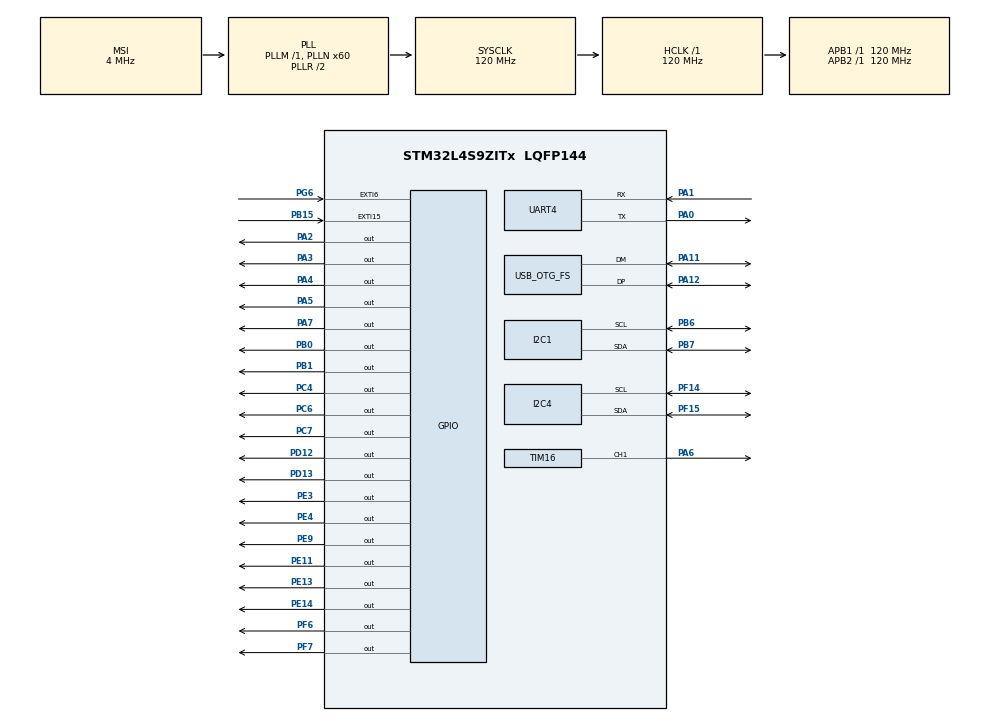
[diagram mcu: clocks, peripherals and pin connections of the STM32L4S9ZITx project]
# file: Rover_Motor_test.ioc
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I2C1.Timing=0x307075B1
I2C4.Timing=0x307075B1
Mcu.Family=STM32L4
Mcu.Name=STM32L4S9ZITx
Mcu.Package=LQFP144
NVIC.PriorityGroup=NVIC_PRIORITYGROUP_4
PA0.Mode=Asynchronous
PA0.Signal=UART4_TX
PA1.Mode=Asynchronous
PA1.Signal=UART4_RX
PA11.Mode=Device_Only
PA11.Signal=USB_OTG_FS_DM
PA12.Mode=Device_Only
PA12.Signal=USB_OTG_FS_DP
PA13\ (JTMS/SWDIO).Signal=SYS_JTMS-SWDIO
PA14\ (JTCK/SWCLK).Signal=SYS_JTCK-SWCLK
PA2.Signal=GPIO_Output
PA3.Signal=GPIO_Output
PA4.Signal=GPIO_Output
PA5.Signal=GPIO_Output
PA6.Signal=S_TIM16_CH1
PA7.Signal=GPIO_Output
PB0.Signal=GPIO_Output
PB1.Signal=GPIO_Output
PB15.Signal=GPXTI15
PB6.Mode=I2C
PB6.Signal=I2C1_SCL
PB7.Mode=I2C
PB7.Signal=I2C1_SDA
PC14-OSC32_IN\ (PC14).Mode=LSE-External-Oscillator
PC14-OSC32_IN\ (PC14).Signal=RCC_OSC32_IN
PC15-OSC32_OUT\ (PC15).Mode=LSE-External-Oscillator
PC15-OSC32_OUT\ (PC15).Signal=RCC_OSC32_OUT
PC4.Signal=GPIO_Output
PC6.Signal=GPIO_Output
PC7.Signal=GPIO_Output
PD12.Signal=GPIO_Output
PD13.Signal=GPIO_Output
PE11.Signal=GPIO_Output
PE13.Signal=GPIO_Output
PE14.Signal=GPIO_Output
PE3.Signal=GPIO_Output
PE4.Signal=GPIO_Output
PE9.Signal=GPIO_Output
PF14.Mode=I2C
PF14.Signal=I2C4_SCL
PF15.Mode=I2C
PF15.Signal=I2C4_SDA
PF6.Signal=GPIO_Output
PF7.Signal=GPIO_Output
PG6.Signal=GPXTI6
ProjectManager.HeapSize=0x200
ProjectManager.StackSize=0x400
ProjectManager.TargetToolchain=STM32CubeIDE
RCC.ADCFreq_Value=48000000
RCC.AHBFreq_Value=120000000
RCC.APB1Freq_Value=120000000
RCC.APB1TimFreq_Value=120000000
RCC.APB2Freq_Value=120000000
RCC.APB2TimFreq_Value=120000000
RCC.CortexFreq_Value=120000000
RCC.HCLKFreq_Value=120000000
RCC.HSE_VALUE=8000000
RCC.HSI48_VALUE=48000000
RCC.HSI_VALUE=16000000
RCC.MSI_VALUE=4000000
RCC.PLLN=60
RCC.PLLSAI1N=24
RCC.SYSCLKFreq_VALUE=120000000
RCC.SYSCLKSource=RCC_SYSCLKSOURCE_PLLCLK
RCC.USBFreq_Value=48000000
RCC.VCOOutputFreq_Value=240000000
SH.S_TIM16_CH1.0=TIM16_CH1,PWM Generation1 CH1
TIM16.Channel=TIM_CHANNEL_1
USB_OTG_FS.VirtualMode=Device_Only
VP_RTC_VS_RTC_Activate.Mode=RTC_Enabled
VP_TIM16_VS_ClockSourceINT.Mode=Enable_Timer
board=custom

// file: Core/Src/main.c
/* USER CODE BEGIN Header */
/**
  ******************************************************************************
  * @file           : main.c
  * @brief          : Main program body
  ******************************************************************************
  * @attention
  *
  * Copyright (c) 2022 STMicroelectronics.
  * All rights reserved.
  *
  * This software is licensed under terms that can be found in the LICENSE file
  * in the root directory of this software component.
  * If no LICENSE file comes with this software, it is provided AS-IS.
  *
  ******************************************************************************
  */
/* USER CODE END Header */

#include <stdbool.h>
#include <stdio.h>
#include <inttypes.h>

#include "main.h"
#include "bretts_helper.h"

I2C_HandleTypeDef hi2c1;
I2C_HandleTypeDef hi2c4;
RTC_HandleTypeDef hrtc;
TIM_HandleTypeDef htim16;
UART_HandleTypeDef huart4;
PCD_HandleTypeDef hpcd_USB_OTG_FS;

/* USER CODE BEGIN PV */
int brett_status = 0;
VL53L0X_Dev_t dev[AMOUNT_IRS];
VL53L0X_DEV Devs = &dev[0];
int distances[AMOUNT_IRS];
float initalHitDis;
bool initalDetachHit;
uint timer_IR;
uint timer_GPS;
RTC_TimeTypeDef sTime;
RTC_DateTypeDef sDate;
Brett_Timer timeStruct;
int magDir;
/* USER CODE END PV */

void SystemClock_Config(void);
static void MX_GPIO_Init(void);
static void MX_I2C1_Init(void);
static void MX_I2C4_Init(void);
static void MX_TIM16_Init(void);
static void MX_UART4_Init(void);
static void MX_RTC_Init(void);
static void MX_USB_OTG_FS_PCD_Init(void);

/* USER CODE BEGIN PFP */
#define PUTCHAR_PROTOTYPE int __io_putchar(int ch)

PUTCHAR_PROTOTYPE
{
	HAL_UART_Transmit(&huart4, (uint8_t*)&ch, 1, 0xFFFF);
	return ch;
}

int main(void)
{
	HAL_Init();

	SystemClock_Config();

	MX_GPIO_Init();
	MX_I2C1_Init();
	MX_I2C4_Init();
	MX_TIM16_Init();
	MX_UART4_Init();
	MX_RTC_Init();
	MX_USB_OTG_FS_PCD_Init();

	// start loop 3
	SetMotors(MOVE_START);
}

void SystemClock_Config(void)
{
  RCC_OscInitTypeDef RCC_OscInitStruct = {0};
  RCC_ClkInitTypeDef RCC_ClkInitStruct = {0};

  /** Configure the main internal regulator output voltage
  */
  if (HAL_PWREx_ControlVoltageScaling(PWR_REGULATOR_VOLTAGE_SCALE1_BOOST) != HAL_OK)
  {
    Error_Handler();
  }
  /** Configure LSE Drive Capability
  */
  HAL_PWR_EnableBkUpAccess();
  __HAL_RCC_LSEDRIVE_CONFIG(RCC_LSEDRIVE_LOW);
  /** Initializes the RCC Oscillators according to the specified parameters
  * in the RCC_OscInitTypeDef structure.
  */
  RCC_OscInitStruct.OscillatorType = RCC_OSCILLATORTYPE_LSI|RCC_OSCILLATORTYPE_LSE
                              |RCC_OSCILLATORTYPE_MSI;
  RCC_OscInitStruct.LSEState = RCC_LSE_ON;
  RCC_OscInitStruct.LSIState = RCC_LSI_ON;
  RCC_OscInitStruct.MSIState = RCC_MSI_ON;
  RCC_OscInitStruct.MSICalibrationValue = 0;
  RCC_OscInitStruct.MSIClockRange = RCC_MSIRANGE_6;
  RCC_OscInitStruct.PLL.PLLState = RCC_PLL_ON;
  RCC_OscInitStruct.PLL.PLLSource = RCC_PLLSOURCE_MSI;
  RCC_OscInitStruct.PLL.PLLM = 1;
  RCC_OscInitStruct.PLL.PLLN = 60;
  RCC_OscInitStruct.PLL.PLLP = RCC_PLLP_DIV2;
  RCC_OscInitStruct.PLL.PLLQ = RCC_PLLQ_DIV2;
  RCC_OscInitStruct.PLL.PLLR = RCC_PLLR_DIV2;
  if (HAL_RCC_OscConfig(&RCC_OscInitStruct) != HAL_OK)
  {
    Error_Handler();
  }
  /** Initializes the CPU, AHB and APB buses clocks
  */
  RCC_ClkInitStruct.ClockType = RCC_CLOCKTYPE_HCLK|RCC_CLOCKTYPE_SYSCLK
                              |RCC_CLOCKTYPE_PCLK1|RCC_CLOCKTYPE_PCLK2;
  RCC_ClkInitStruct.SYSCLKSource = RCC_SYSCLKSOURCE_PLLCLK;
  RCC_ClkInitStruct.AHBCLKDivider = RCC_SYSCLK_DIV1;
  RCC_ClkInitStruct.APB1CLKDivider = RCC_HCLK_DIV1;
  RCC_ClkInitStruct.APB2CLKDivider = RCC_HCLK_DIV1;

  if (HAL_RCC_ClockConfig(&RCC_ClkInitStruct, FLASH_LATENCY_5) != HAL_OK)
  {
    Error_Handler();
  }
  /** Enable MSI Auto calibration
  */
  HAL_RCCEx_EnableMSIPLLMode();
}

static void MX_I2C1_Init(void)
{

  hi2c1.Instance = I2C1;
  hi2c1.Init.Timing = 0x307075B1;
  hi2c1.Init.OwnAddress1 = 0;
  hi2c1.Init.AddressingMode = I2C_ADDRESSINGMODE_7BIT;
  hi2c1.Init.DualAddressMode = I2C_DUALADDRESS_DISABLE;
  hi2c1.Init.OwnAddress2 = 0;
  hi2c1.Init.OwnAddress2Masks = I2C_OA2_NOMASK;
  hi2c1.Init.GeneralCallMode = I2C_GENERALCALL_DISABLE;
  hi2c1.Init.NoStretchMode = I2C_NOSTRETCH_DISABLE;
  if (HAL_I2C_Init(&hi2c1) != HAL_OK)
  {
    Error_Handler();
  }
  /** Configure Analogue filter
  */
  if (HAL_I2CEx_ConfigAnalogFilter(&hi2c1, I2C_ANALOGFILTER_ENABLE) != HAL_OK)
  {
    Error_Handler();
  }
  /** Configure Digital filter
  */
  if (HAL_I2CEx_ConfigDigitalFilter(&hi2c1, 0) != HAL_OK)
  {
    Error_Handler();
  }

}

static void MX_I2C4_Init(void)
{

  hi2c4.Instance = I2C4;
  hi2c4.Init.Timing = 0x307075B1;
  hi2c4.Init.OwnAddress1 = 0;
  hi2c4.Init.AddressingMode = I2C_ADDRESSINGMODE_7BIT;
  hi2c4.Init.DualAddressMode = I2C_DUALADDRESS_DISABLE;
  hi2c4.Init.OwnAddress2 = 0;
  hi2c4.Init.OwnAddress2Masks = I2C_OA2_NOMASK;
  hi2c4.Init.GeneralCallMode = I2C_GENERALCALL_DISABLE;
  hi2c4.Init.NoStretchMode = I2C_NOSTRETCH_DISABLE;
  if (HAL_I2C_Init(&hi2c4) != HAL_OK)
  {
    Error_Handler();
  }
  /** Configure Analogue filter
  */
  if (HAL_I2CEx_ConfigAnalogFilter(&hi2c4, I2C_ANALOGFILTER_ENABLE) != HAL_OK)
  {
    Error_Handler();
  }
  /** Configure Digital filter
  */
  if (HAL_I2CEx_ConfigDigitalFilter(&hi2c4, 0) != HAL_OK)
  {
    Error_Handler();
  }

}

static void MX_RTC_Init(void)
{

  /* USER CODE BEGIN RTC_Init 0 */
	RTC_TimeTypeDef time = {0};
	RTC_DateTypeDef date = {0};

  /* USER CODE END RTC_Init 0 */

  /** Initialize RTC Only
  */
  hrtc.Instance = RTC;
  hrtc.Init.HourFormat = RTC_HOURFORMAT_24;
  hrtc.Init.AsynchPrediv = 127;
  hrtc.Init.SynchPrediv = 255;
  hrtc.Init.OutPut = RTC_OUTPUT_DISABLE;
  hrtc.Init.OutPutRemap = RTC_OUTPUT_REMAP_NONE;
  hrtc.Init.OutPutPolarity = RTC_OUTPUT_POLARITY_HIGH;
  hrtc.Init.OutPutType = RTC_OUTPUT_TYPE_OPENDRAIN;
  if (HAL_RTC_Init(&hrtc) != HAL_OK)
  {
    Error_Handler();
  }
  /* USER CODE BEGIN RTC_Init 2 */
	time.Hours = 0;
	time.Minutes = 0;
	time.Seconds = 0;
	time.DayLightSaving = RTC_DAYLIGHTSAVING_NONE;
	time.StoreOperation = RTC_STOREOPERATION_RESET;
	if (HAL_RTC_SetTime(&hrtc, &time, RTC_FORMAT_BCD) != HAL_OK)
	{
		Error_Handler();
	}
	date.WeekDay = RTC_WEEKDAY_WEDNESDAY;
	date.Month = RTC_MONTH_APRIL;
	date.Date = 6;
	date.Year = 22;
  /* USER CODE END RTC_Init 2 */

}

static void MX_TIM16_Init(void)
{

  TIM_OC_InitTypeDef sConfigOC = {0};
  TIM_BreakDeadTimeConfigTypeDef sBreakDeadTimeConfig = {0};

  htim16.Instance = TIM16;
  htim16.Init.Prescaler = 0;
  htim16.Init.CounterMode = TIM_COUNTERMODE_UP;
  htim16.Init.Period = 65535;
  htim16.Init.ClockDivision = TIM_CLOCKDIVISION_DIV1;
  htim16.Init.RepetitionCounter = 0;
  htim16.Init.AutoReloadPreload = TIM_AUTORELOAD_PRELOAD_DISABLE;
  if (HAL_TIM_Base_Init(&htim16) != HAL_OK)
  {
    Error_Handler();
  }
  if (HAL_TIM_PWM_Init(&htim16) != HAL_OK)
  {
    Error_Handler();
  }
  sConfigOC.OCMode = TIM_OCMODE_PWM1;
  sConfigOC.Pulse = 0;
  sConfigOC.OCPolarity = TIM_OCPOLARITY_HIGH;
  sConfigOC.OCNPolarity = TIM_OCNPOLARITY_HIGH;
  sConfigOC.OCFastMode = TIM_OCFAST_DISABLE;
  sConfigOC.OCIdleState = TIM_OCIDLESTATE_RESET;
  sConfigOC.OCNIdleState = TIM_OCNIDLESTATE_RESET;
  if (HAL_TIM_PWM_ConfigChannel(&htim16, &sConfigOC, TIM_CHANNEL_1) != HAL_OK)
  {
    Error_Handler();
  }
  sBreakDeadTimeConfig.OffStateRunMode = TIM_OSSR_DISABLE;
  sBreakDeadTimeConfig.OffStateIDLEMode = TIM_OSSI_DISABLE;
  sBreakDeadTimeConfig.LockLevel = TIM_LOCKLEVEL_OFF;
  sBreakDeadTimeConfig.DeadTime = 0;
  sBreakDeadTimeConfig.BreakState = TIM_BREAK_DISABLE;
  sBreakDeadTimeConfig.BreakPolarity = TIM_BREAKPOLARITY_HIGH;
  sBreakDeadTimeConfig.AutomaticOutput = TIM_AUTOMATICOUTPUT_DISABLE;
  if (HAL_TIMEx_ConfigBreakDeadTime(&htim16, &sBreakDeadTimeConfig) != HAL_OK)
  {
    Error_Handler();
  }
  HAL_TIM_MspPostInit(&htim16);

}

static void MX_UART4_Init(void)
{

  huart4.Instance = UART4;
  huart4.Init.BaudRate = 115200;
  huart4.Init.WordLength = UART_WORDLENGTH_8B;
  huart4.Init.StopBits = UART_STOPBITS_1;
  huart4.Init.Parity = UART_PARITY_NONE;
  huart4.Init.Mode = UART_MODE_TX_RX;
  huart4.Init.HwFlowCtl = UART_HWCONTROL_NONE;
  huart4.Init.OverSampling = UART_OVERSAMPLING_16;
  huart4.Init.OneBitSampling = UART_ONE_BIT_SAMPLE_DISABLE;
  huart4.Init.ClockPrescaler = UART_PRESCALER_DIV1;
  huart4.AdvancedInit.AdvFeatureInit = UART_ADVFEATURE_NO_INIT;
  if (HAL_UART_Init(&huart4) != HAL_OK)
  {
    Error_Handler();
  }
  if (HAL_UARTEx_SetTxFifoThreshold(&huart4, UART_TXFIFO_THRESHOLD_1_8) != HAL_OK)
  {
    Error_Handler();
  }
  if (HAL_UARTEx_SetRxFifoThreshold(&huart4, UART_RXFIFO_THRESHOLD_1_8) != HAL_OK)
  {
    Error_Handler();
  }
  if (HAL_UARTEx_DisableFifoMode(&huart4) != HAL_OK)
  {
    Error_Handler();
  }

}

static void MX_USB_OTG_FS_PCD_Init(void)
{

  hpcd_USB_OTG_FS.Instance = USB_OTG_FS;
  hpcd_USB_OTG_FS.Init.dev_endpoints = 6;
  hpcd_USB_OTG_FS.Init.phy_itface = PCD_PHY_EMBEDDED;
  hpcd_USB_OTG_FS.Init.Sof_enable = DISABLE;
  hpcd_USB_OTG_FS.Init.low_power_enable = DISABLE;
  hpcd_USB_OTG_FS.Init.lpm_enable = DISABLE;
  hpcd_USB_OTG_FS.Init.battery_charging_enable = DISABLE;
  hpcd_USB_OTG_FS.Init.use_dedicated_ep1 = DISABLE;
  hpcd_USB_OTG_FS.Init.vbus_sensing_enable = DISABLE;
  if (HAL_PCD_Init(&hpcd_USB_OTG_FS) != HAL_OK)
  {
    Error_Handler();
  }

}

static void MX_GPIO_Init(void)
{
  GPIO_InitTypeDef GPIO_InitStruct = {0};

  /* GPIO Ports Clock Enable */
  __HAL_RCC_GPIOE_CLK_ENABLE();
  __HAL_RCC_GPIOC_CLK_ENABLE();
  __HAL_RCC_GPIOF_CLK_ENABLE();
  __HAL_RCC_GPIOA_CLK_ENABLE();
  __HAL_RCC_GPIOB_CLK_ENABLE();
  __HAL_RCC_GPIOD_CLK_ENABLE();
  __HAL_RCC_GPIOG_CLK_ENABLE();
  HAL_PWREx_EnableVddIO2();

  /*Configure GPIO pin Output Level */
  HAL_GPIO_WritePin(GPIOE, GPIO_PIN_3|GPIO_PIN_4|GPIO_PIN_9|GPIO_PIN_11
                          |GPIO_PIN_13|GPIO_PIN_14, GPIO_PIN_RESET);

  /*Configure GPIO pin Output Level */
  HAL_GPIO_WritePin(GPIOF, GPIO_PIN_6|GPIO_PIN_7, GPIO_PIN_RESET);

  /*Configure GPIO pin Output Level */
  HAL_GPIO_WritePin(GPIOA, GPIO_PIN_2|GPIO_PIN_3|GPIO_PIN_4|GPIO_PIN_5
                          |GPIO_PIN_7, GPIO_PIN_RESET);

  /*Configure GPIO pin Output Level */
  HAL_GPIO_WritePin(GPIOC, GPIO_PIN_4|GPIO_PIN_6|GPIO_PIN_7, GPIO_PIN_RESET);

  /*Configure GPIO pin Output Level */
  HAL_GPIO_WritePin(GPIOB, GPIO_PIN_0|GPIO_PIN_1, GPIO_PIN_RESET);

  /*Configure GPIO pin Output Level */
  HAL_GPIO_WritePin(GPIOD, GPIO_PIN_12|GPIO_PIN_13, GPIO_PIN_RESET);

  /*Configure GPIO pins : PE3 PE4 PE9 PE11
                           PE13 PE14 */
  GPIO_InitStruct.Pin = GPIO_PIN_3|GPIO_PIN_4|GPIO_PIN_9|GPIO_PIN_11
                          |GPIO_PIN_13|GPIO_PIN_14;
  GPIO_InitStruct.Mode = GPIO_MODE_OUTPUT_PP;
  GPIO_InitStruct.Pull = GPIO_NOPULL;
  GPIO_InitStruct.Speed = GPIO_SPEED_FREQ_LOW;
  HAL_GPIO_Init(GPIOE, &GPIO_InitStruct);

  /*Configure GPIO pins : PF6 PF7 */
  GPIO_InitStruct.Pin = GPIO_PIN_6|GPIO_PIN_7;
  GPIO_InitStruct.Mode = GPIO_MODE_OUTPUT_PP;
  GPIO_InitStruct.Pull = GPIO_NOPULL;
  GPIO_InitStruct.Speed = GPIO_SPEED_FREQ_LOW;
  HAL_GPIO_Init(GPIOF, &GPIO_InitStruct);

  /*Configure GPIO pins : PA2 PA3 PA4 PA5
                           PA7 */
  GPIO_InitStruct.Pin = GPIO_PIN_2|GPIO_PIN_3|GPIO_PIN_4|GPIO_PIN_5
                          |GPIO_PIN_7;
  GPIO_InitStruct.Mode = GPIO_MODE_OUTPUT_PP;
  GPIO_InitStruct.Pull = GPIO_NOPULL;
  GPIO_InitStruct.Speed = GPIO_SPEED_FREQ_LOW;
  HAL_GPIO_Init(GPIOA, &GPIO_InitStruct);

  /*Configure GPIO pins : PC4 PC6 PC7 */
  GPIO_InitStruct.Pin = GPIO_PIN_4|GPIO_PIN_6|GPIO_PIN_7;
  GPIO_InitStruct.Mode = GPIO_MODE_OUTPUT_PP;
  GPIO_InitStruct.Pull = GPIO_NOPULL;
  GPIO_InitStruct.Speed = GPIO_SPEED_FREQ_LOW;
  HAL_GPIO_Init(GPIOC, &GPIO_InitStruct);

  /*Configure GPIO pins : PB0 PB1 */
  GPIO_InitStruct.Pin = GPIO_PIN_0|GPIO_PIN_1;
  GPIO_InitStruct.Mode = GPIO_MODE_OUTPUT_PP;
  GPIO_InitStruct.Pull = GPIO_NOPULL;
  GPIO_InitStruct.Speed = GPIO_SPEED_FREQ_LOW;
  HAL_GPIO_Init(GPIOB, &GPIO_InitStruct);

  /*Configure GPIO pin : PB15 */
  GPIO_InitStruct.Pin = GPIO_PIN_15;
  GPIO_InitStruct.Mode = GPIO_MODE_IT_RISING;
  GPIO_InitStruct.Pull = GPIO_NOPULL;
  HAL_GPIO_Init(GPIOB, &GPIO_InitStruct);

  /*Configure GPIO pins : PD12 PD13 */
  GPIO_InitStruct.Pin = GPIO_PIN_12|GPIO_PIN_13;
  GPIO_InitStruct.Mode = GPIO_MODE_OUTPUT_PP;
  GPIO_InitStruct.Pull = GPIO_NOPULL;
  GPIO_InitStruct.Speed = GPIO_SPEED_FREQ_LOW;
  HAL_GPIO_Init(GPIOD, &GPIO_InitStruct);

  /*Configure GPIO pin : PG6 */
  GPIO_InitStruct.Pin = GPIO_PIN_6;
  GPIO_InitStruct.Mode = GPIO_MODE_IT_RISING;
  GPIO_InitStruct.Pull = GPIO_NOPULL;
  HAL_GPIO_Init(GPIOG, &GPIO_InitStruct);

}

void Error_Handler(void)
{
  __disable_irq();
  while (1)
  {
  }
}
